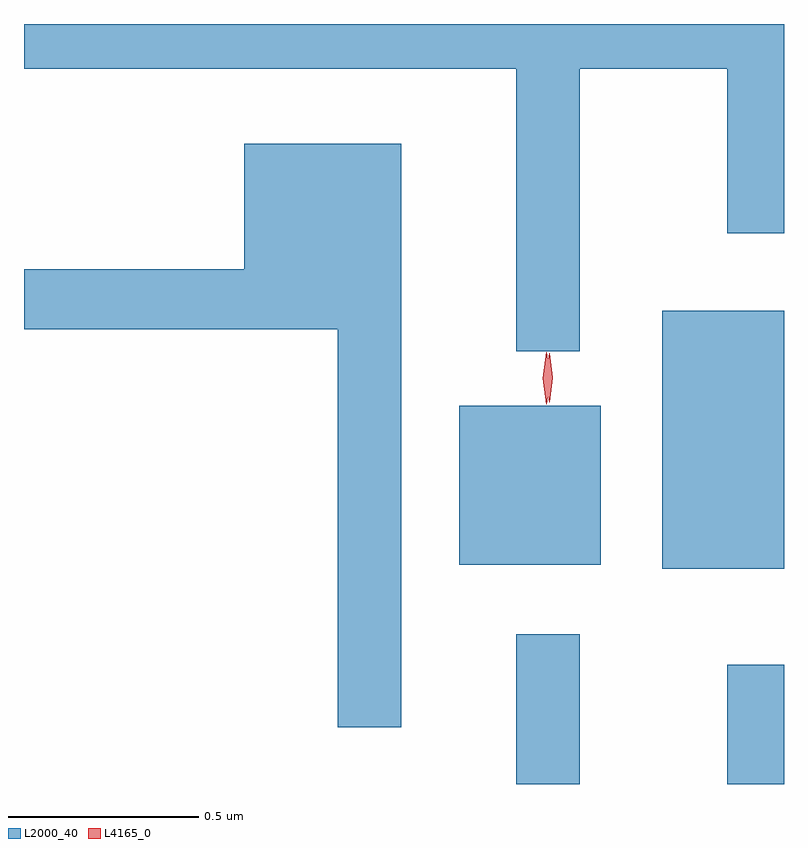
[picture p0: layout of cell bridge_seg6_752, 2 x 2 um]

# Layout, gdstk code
import gdstk
lib = gdstk.Library(unit=1e-6, precision=1e-09)
def R(c, l, rs):  # rectangles x0, y0, x1, y1
    for r in rs: c.add(gdstk.rectangle(r[:2], r[2:], *l))
def P(c, l, *ps):  # polygons
    for p in ps: c.add(gdstk.Polygon(p, *l))
L2000_40 = (2000, 40)
L4165_0 = (4165, 0)

bridge_seg6_752 = lib.new_cell('bridge_seg6_752')
R(bridge_seg6_752, L2000_40, [(558.631,1557.034,558.799,1557.428), (559.186,1557.034,559.336,1557.348), (559.016,1557.601,559.336,1558.279), (558.481,1557.611,558.854,1558.029)])
P(bridge_seg6_752, L2000_40, [(558.799,1558.916),(559.186,1558.916),(559.186,1558.483),(559.336,1558.483),(559.336,1559.034),(557.336,1559.034),(557.336,1558.916),(558.631,1558.916),(558.631,1558.173),(558.799,1558.173)],
  [(558.329,1558.719),(557.916,1558.719),(557.916,1558.389),(557.336,1558.389),(557.336,1558.231),(558.161,1558.231),(558.161,1557.183),(558.329,1557.183)])
P(bridge_seg6_752, L4165_0, [(558.71,1558.034),(558.701,1558.102),(558.71,1558.17),(558.711,1558.17),(558.711,1558.17),(558.721,1558.102),(558.711,1558.034),(558.711,1558.034)],
  [(558.718,1558.038),(558.718,1558.039),(558.708,1558.103),(558.718,1558.167),(558.718,1558.167),(558.719,1558.167),(558.728,1558.103),(558.719,1558.039)])

lib.write_gds('bridge_seg6_752.gds')
